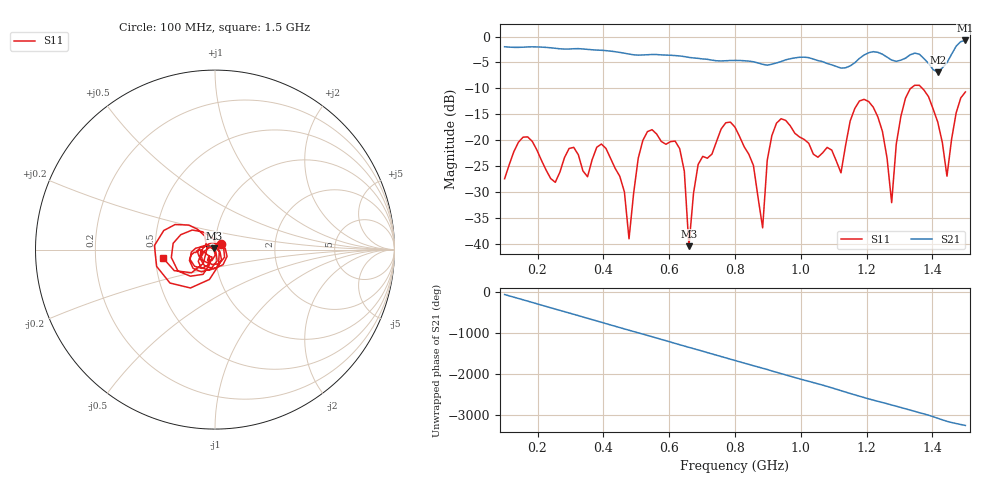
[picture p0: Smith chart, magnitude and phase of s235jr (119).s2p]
! NanoVNA-App
! Date: 2025-09-25 15:05:05
! Start: 100MHz Stop: 1,5GHz Points: 101
! S-Parameter data: F S11 S21 S12 S22
# Hz S RI R 50
!  Frequency  S11_Real  S11_Imag  S21_Real  S21_Imag  S12_Real  S12_Imag  S22_Real  S22_Imag
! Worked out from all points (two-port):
!   101 points, 100 MHz to 1.5 GHz, reference 50 ohm
!   highest |S21| = -0.75 dB at 1.5 GHz (marker M1); lowest = -6.9 dB at 1.416 GHz (marker M2)
!   |S21| within 3 dB of the highest: start of sweep to 632.7 MHz; 1.188 GHz to 1.256 GHz (68.28 MHz wide, 5.59 % of centre) (the widest 2 of 4)
!   lowest |S11| = -40.5 dB at 660 MHz (marker M3), VSWR 1.02, Z = 49.3 + j0.615 ohm
!   |S11| at or under -10 dB: start of sweep to 1.334 GHz; 1.369 GHz to end of sweep
!   S12 and S22 are empty: the file has one direction only
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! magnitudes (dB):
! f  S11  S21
! 100 MHz  -27.5  -2.0
! 156 MHz  -19.4  -2.1
! 338 MHz  -26.0  -2.4
! 408 MHz  -21.6  -2.7
! 478 MHz  -39.1  -3.4
! 520 MHz  -20.1  -3.5
! 576 MHz  -20.3  -3.5
! 632 MHz  -21.7  -3.7
! 660 MHz  -40.5  -4.0
! 688 MHz  -24.7  -4.2
! 800 MHz  -17.5  -4.6
! 884 MHz  -37.0  -5.4
! 898 MHz  -23.9  -5.5
! 926 MHz  -16.7  -5.1
! 1.038 GHz  -22.7  -4.3
! 1.122 GHz  -26.3  -6.1
! 1.206 GHz  -12.5  -3.1
! 1.276 GHz  -32.1  -4.5
! 1.332 GHz  -10.1  -3.5
! 1.416 GHz  -16.5  -6.9
! 1.444 GHz  -27.0  -5.0
! 1.5 GHz  -10.7  -0.7
